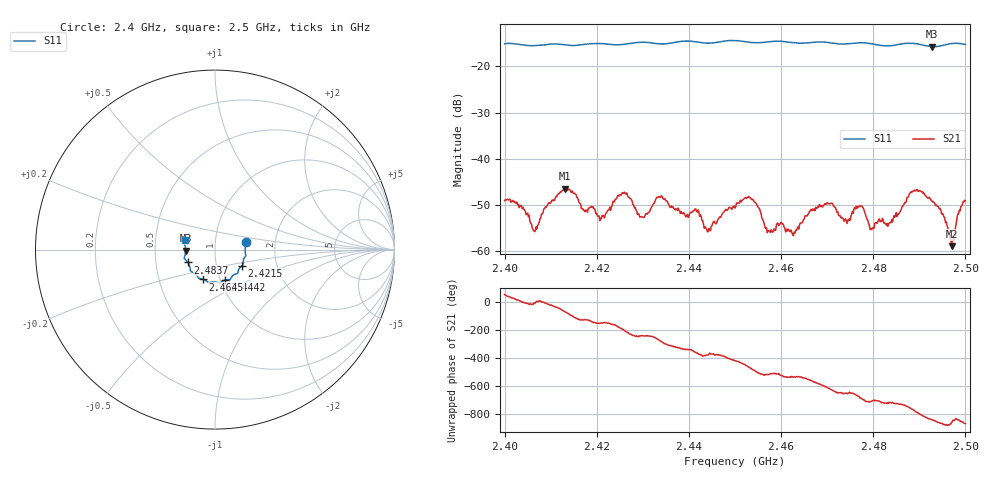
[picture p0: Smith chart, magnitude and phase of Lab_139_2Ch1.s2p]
# Hz S RI R 50
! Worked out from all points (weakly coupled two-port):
!   601 points, 2.4 GHz to 2.5 GHz, reference 50 ohm
!   highest |S21| = -46.47 dB at 2.4132 GHz (marker M1); lowest = -58.9 dB at 2.497 GHz (marker M2)
!   lowest |S11| = -15.7 dB at 2.4928 GHz (marker M3), VSWR 1.39, Z = 36 - j0.382 ohm
!   |S11| at or under -10 dB: start of sweep to end of sweep
!   S12 and S22 are empty: the file has one direction only
!   S11 on the Smith chart (normalised r, x): 2.4 GHz: 1.41, +0.12; 2.4215 GHz: 1.33, -0.25; 2.4442 GHz: 1.05, -0.37; 2.4645 GHz: 0.83, -0.29; 2.4837 GHz: 0.73, -0.11; 2.5 GHz: 0.71, +0.07
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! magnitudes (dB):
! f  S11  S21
! 2.4 GHz  -15.1  -49.0
! 2.4065 GHz  -15.5  -55.7
! 2.4132 GHz  -15.3  -46.5
! 2.4167 GHz  -15.3  -50.8
! 2.4215 GHz  -15.1  -52.3
! 2.4257 GHz  -15.2  -47.3
! 2.4298 GHz  -14.8  -52.5
! 2.4333 GHz  -15.1  -48.2
! 2.4442 GHz  -15.0  -55.7
! 2.45 GHz  -14.4  -50.6
! 2.4535 GHz  -14.8  -48.6
! 2.4575 GHz  -14.6  -55.7
! 2.4645 GHz  -15.0  -53.8
! 2.4667 GHz  -14.8  -51.2
! 2.4772 GHz  -14.9  -50.1
! 2.4797 GHz  -15.1  -55.3
! 2.4833 GHz  -15.6  -54.0
! 2.4837 GHz  -15.5  -53.8
! 2.4885 GHz  -15.0  -47.0
! 2.4928 GHz  -15.7  -49.3
! 2.497 GHz  -15.0  -58.9
! 2.5 GHz  -15.2  -49.1
